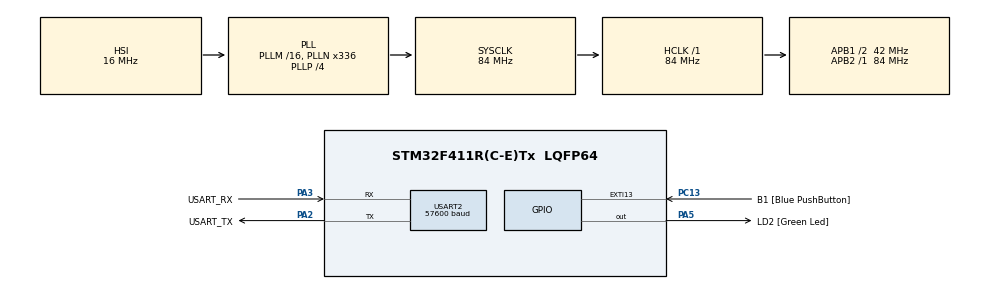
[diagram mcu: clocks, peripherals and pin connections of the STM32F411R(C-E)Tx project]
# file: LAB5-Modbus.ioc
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Mcu.Family=STM32F4
Mcu.Name=STM32F411R(C-E)Tx
Mcu.Package=LQFP64
NVIC.PriorityGroup=NVIC_PRIORITYGROUP_0
NVIC.USART2_IRQn=true\:0\:0\:false\:false\:true\:true\:true\:true
PA13.GPIO_Label=TMS
PA13.Mode=Serial_Wire
PA13.Signal=SYS_JTMS-SWDIO
PA14.GPIO_Label=TCK
PA14.Mode=Serial_Wire
PA14.Signal=SYS_JTCK-SWCLK
PA2.GPIO_Label=USART_TX
PA2.Mode=Asynchronous
PA2.Signal=USART2_TX
PA3.GPIO_Label=USART_RX
PA3.Mode=Asynchronous
PA3.Signal=USART2_RX
PA5.GPIO_Label=LD2 [Green Led]
PA5.Signal=GPIO_Output
PB3.GPIO_Label=SWO
PB3.Signal=SYS_JTDO-SWO
PC13-ANTI_TAMP.GPIO_Label=B1 [Blue PushButton]
PC13-ANTI_TAMP.GPIO_ModeDefaultEXTI=GPIO_MODE_IT_FALLING
PC13-ANTI_TAMP.Signal=GPXTI13
PC14-OSC32_IN.Mode=LSE-External-Oscillator
PC14-OSC32_IN.Signal=RCC_OSC32_IN
PC15-OSC32_OUT.Mode=LSE-External-Oscillator
PC15-OSC32_OUT.Signal=RCC_OSC32_OUT
PH0\ -\ OSC_IN.Mode=HSE-External-Clock-Source
PH0\ -\ OSC_IN.Signal=RCC_OSC_IN
PH1\ -\ OSC_OUT.Mode=HSE-External-Clock-Source
PH1\ -\ OSC_OUT.Signal=RCC_OSC_OUT
ProjectManager.HeapSize=0x200
ProjectManager.StackSize=0x400
ProjectManager.TargetToolchain=STM32CubeIDE
RCC.48MHZClocksFreq_Value=84000000
RCC.AHBFreq_Value=84000000
RCC.APB1CLKDivider=RCC_HCLK_DIV2
RCC.APB1Freq_Value=42000000
RCC.APB1TimFreq_Value=84000000
RCC.APB2Freq_Value=84000000
RCC.APB2TimFreq_Value=84000000
RCC.CortexFreq_Value=84000000
RCC.FLatency-AdvancedSettings=FLASH_LATENCY_2
RCC.HCLKFreq_Value=84000000
RCC.HSE_VALUE=8000000
RCC.HSI_VALUE=16000000
RCC.PLLN=336
RCC.PLLP=RCC_PLLP_DIV4
RCC.SYSCLKFreq_VALUE=84000000
RCC.SYSCLKSource=RCC_SYSCLKSOURCE_PLLCLK
RCC.VCOOutputFreq_Value=336000000
USART2.BaudRate=57600
USART2.VirtualMode=VM_ASYNC
board=NUCLEO-F411RE

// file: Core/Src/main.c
/* USER CODE BEGIN Header */
/**
 ******************************************************************************
 * @file           : main.c
 * @brief          : Main program body
 ******************************************************************************
 * @attention
 *
 * Copyright (c) 2023 STMicroelectronics.
 * All rights reserved.
 *
 * This software is licensed under terms that can be found in the LICENSE file
 * in the root directory of this software component.
 * If no LICENSE file comes with this software, it is provided AS-IS.
 *
 ******************************************************************************
 */
/* USER CODE END Header */
#include "main.h"

/* USER CODE BEGIN Includes */
#include "stdio.h"
#include "string.h"
/* USER CODE END Includes */

UART_HandleTypeDef huart2;

/* USER CODE BEGIN PV */
uint8_t RxBuffer[1];
uint8_t TxBuffer[40];

uint8_t FirstMenu[500] =
				"===================================================== \r\n"
				"           Welcome to First selection Menu            \r\n"
				"   Please selected only choise which the menu have    \r\n"
				"             Press the number of choise               \r\n"
				"===================================================== \r\n"
				"                 0 : LED Control                      \r\n"
				"                1 : Button Status                     \r\n"
				"===================================================== \r\n";

uint8_t SecondMenu[700] =
				"===================================================== \r\n"
				"               Welcome to Led Control                 \r\n"
				"   Please selected only choise which the menu have    \r\n"
				"             Press the Character of choise            \r\n"
				"===================================================== \r\n"
				"                a : Speed Up +1 Hz                    \r\n"
				"                s : Speed Down -1 Hz                  \r\n"
				"                d : On / Off LED                      \r\n"
		        "                x : Prevoius menus                    \r\n"
				"===================================================== \r\n";

uint8_t ThirdMenu[300] =
				"===================================================== \r\n"
				"              Welcome to Button Status                \r\n"
				"       This Menu will show button status B1           \r\n"
				"         Press 'x' to get to prevoius menu            \r\n"
				"===================================================== \r\n";

int8_t Hz = 0;
int8_t PreHz = 0;
uint16_t Millis = 0;

uint8_t TextState = 0;

uint8_t LedStatus = 0;
uint8_t LedOn[10] = "LedOn\r\n";
uint8_t LedOff[15] = "LedOff\r\n";

uint8_t wrong[20] = "Worng Option\r\n";

uint8_t Button = 0;
uint8_t PreButton = 0;
uint8_t Press[20] = "ButtonPressed\r\n";
uint8_t unPress[20] = "ButtonUnpressed\r\n";

uint8_t OneTimePress = 0;
/* USER CODE END PV */

void SystemClock_Config(void);
static void MX_GPIO_Init(void);
static void MX_USART2_UART_Init(void);
/* USER CODE BEGIN PFP */

void UARTInterruptConfig();
/* USER CODE END PFP */

int main(void) {

	/* MCU Configuration--------------------------------------------------------*/

	/* Reset of all peripherals, Initializes the Flash interface and the Systick. */
	HAL_Init();

	/* Configure the system clock */
	SystemClock_Config();

	/* Initialize all configured peripherals */
	MX_GPIO_Init();
	MX_USART2_UART_Init();
	/* USER CODE BEGIN 2 */

	UARTInterruptConfig();
	RxBuffer[0] = ' ';
	/* USER CODE END 2 */

	/* Infinite loop */
	while (1) {

		/* USER CODE BEGIN 3 */
		static uint32_t timestamp = 0;
		if (HAL_GetTick() > timestamp) {

			if (Hz > 0) {
				Millis = 500 / Hz;
			} else {
				Millis = 0;
			}
			timestamp = HAL_GetTick() + Millis;

			if(LedStatus == 0 || Hz == 0){
				HAL_GPIO_WritePin(LD2_GPIO_Port, LD2_Pin, RESET);
			}
			else{
				HAL_GPIO_TogglePin(LD2_GPIO_Port, LD2_Pin);
			}
		}

		switch (TextState) {

		case 0:
			HAL_UART_Transmit_IT(&huart2, FirstMenu, strlen((char*) FirstMenu));
			TextState = 1;
			break;
		case 1:
			switch (RxBuffer[0]){

			case ' ':
				break;
			case '0' :
					RxBuffer[0] = ' ';
					TextState = 2;
				break;
			case '1' :
					RxBuffer[0] = ' ';
					TextState = 4;
				break;
			default:
					HAL_UART_Transmit_IT(&huart2, wrong, strlen((char*) wrong));
					RxBuffer[0] = ' ';
					TextState = 1;
				break;
			}
			break;

		case 2:
			HAL_UART_Transmit_IT(&huart2, SecondMenu, strlen((char*) SecondMenu));
			TextState = 3;
			break;
		case 3:
			switch(RxBuffer[0]){

			case ' ':
				break;
			case 'a':
				Hz += 1;
				PreHz += 1;

				sprintf((char*) TxBuffer, "Now LED Blink %d Hz\r\n", Hz);
				HAL_UART_Transmit_IT(&huart2, TxBuffer, strlen((char*) TxBuffer));
				TextState = 3;
				RxBuffer[0] = ' ';
				break;
			case 's' :
				Hz -= 1;
				if(Hz <= 0){
					Hz = 0;
				}
				PreHz -= 1;
				if(PreHz <= 0){
					PreHz = 0;
				}

				sprintf((char*) TxBuffer, "Now LED Blink %d Hz\r\n", Hz);
				HAL_UART_Transmit_IT(&huart2, TxBuffer, strlen((char*) TxBuffer));
				TextState = 3;
				RxBuffer[0] = ' ';
				break;
			case 'd':
				if(LedStatus){
					LedStatus = 0;
					RxBuffer[0] = ' ';

					Hz = 0;
					HAL_UART_Transmit_IT(&huart2, LedOff, strlen((char*) LedOff));
					HAL_GPIO_WritePin(LD2_GPIO_Port, LD2_Pin, SET);
				}
				else{
					LedStatus = 1;
					RxBuffer[0] =' ';

					Hz = PreHz;
					HAL_UART_Transmit_IT(&huart2, LedOn, strlen((char*) LedOn));
				}
				break;
			case 'x':
				RxBuffer[0] = ' ';
				TextState = 0;
				break;
			default :
				RxBuffer[0] = ' ';
				HAL_UART_Transmit_IT(&huart2, wrong, strlen((char*) wrong));
				TextState = 3;
				break;
			}
			break;

		case 4:
			HAL_UART_Transmit_IT(&huart2, ThirdMenu, strlen((char*) ThirdMenu));
			TextState = 5;
			break;
		case 5:
			Button = HAL_GPIO_ReadPin(GPIOC, GPIO_PIN_13);
			if(Button == 1 && PreButton == 0){
				HAL_UART_Transmit_IT(&huart2, unPress, strlen((char*) unPress));
				OneTimePress = 0;
			}
			else if(Button == 0 && PreButton == 0){
				if(!OneTimePress){
					HAL_UART_Transmit_IT(&huart2, Press, strlen((char*) Press));
					OneTimePress = 1;
				}
			}
			switch(RxBuffer[0]){

			case ' ':
				break;
			case 'x':
				RxBuffer[0] = ' ';
				TextState = 0;
				break;
			default:
				HAL_UART_Transmit_IT(&huart2, wrong, strlen((char*) wrong));
				RxBuffer[0] = ' ';
				TextState = 5;
				break;
			}
			PreButton = Button;
			break;
		}

	}
	/* USER CODE END 3 */
}

void SystemClock_Config(void) {
	RCC_OscInitTypeDef RCC_OscInitStruct = { 0 };
	RCC_ClkInitTypeDef RCC_ClkInitStruct = { 0 };

	/** Configure the main internal regulator output voltage
	 */
	__HAL_RCC_PWR_CLK_ENABLE();
	__HAL_PWR_VOLTAGESCALING_CONFIG(PWR_REGULATOR_VOLTAGE_SCALE1);

	/** Initializes the RCC Oscillators according to the specified parameters
	 * in the RCC_OscInitTypeDef structure.
	 */
	RCC_OscInitStruct.OscillatorType = RCC_OSCILLATORTYPE_HSI;
	RCC_OscInitStruct.HSIState = RCC_HSI_ON;
	RCC_OscInitStruct.HSICalibrationValue = RCC_HSICALIBRATION_DEFAULT;
	RCC_OscInitStruct.PLL.PLLState = RCC_PLL_ON;
	RCC_OscInitStruct.PLL.PLLSource = RCC_PLLSOURCE_HSI;
	RCC_OscInitStruct.PLL.PLLM = 16;
	RCC_OscInitStruct.PLL.PLLN = 336;
	RCC_OscInitStruct.PLL.PLLP = RCC_PLLP_DIV4;
	RCC_OscInitStruct.PLL.PLLQ = 4;
	if (HAL_RCC_OscConfig(&RCC_OscInitStruct) != HAL_OK) {
		Error_Handler();
	}

	/** Initializes the CPU, AHB and APB buses clocks
	 */
	RCC_ClkInitStruct.ClockType = RCC_CLOCKTYPE_HCLK | RCC_CLOCKTYPE_SYSCLK
			| RCC_CLOCKTYPE_PCLK1 | RCC_CLOCKTYPE_PCLK2;
	RCC_ClkInitStruct.SYSCLKSource = RCC_SYSCLKSOURCE_PLLCLK;
	RCC_ClkInitStruct.AHBCLKDivider = RCC_SYSCLK_DIV1;
	RCC_ClkInitStruct.APB1CLKDivider = RCC_HCLK_DIV2;
	RCC_ClkInitStruct.APB2CLKDivider = RCC_HCLK_DIV1;

	if (HAL_RCC_ClockConfig(&RCC_ClkInitStruct, FLASH_LATENCY_2) != HAL_OK) {
		Error_Handler();
	}
}

static void MX_USART2_UART_Init(void) {

	huart2.Instance = USART2;
	huart2.Init.BaudRate = 57600;
	huart2.Init.WordLength = UART_WORDLENGTH_8B;
	huart2.Init.StopBits = UART_STOPBITS_1;
	huart2.Init.Parity = UART_PARITY_NONE;
	huart2.Init.Mode = UART_MODE_TX_RX;
	huart2.Init.HwFlowCtl = UART_HWCONTROL_NONE;
	huart2.Init.OverSampling = UART_OVERSAMPLING_16;
	if (HAL_UART_Init(&huart2) != HAL_OK) {
		Error_Handler();
	}

}

static void MX_GPIO_Init(void) {
	GPIO_InitTypeDef GPIO_InitStruct = { 0 };

	/* GPIO Ports Clock Enable */
	__HAL_RCC_GPIOC_CLK_ENABLE();
	__HAL_RCC_GPIOH_CLK_ENABLE();
	__HAL_RCC_GPIOA_CLK_ENABLE();
	__HAL_RCC_GPIOB_CLK_ENABLE();

	/*Configure GPIO pin Output Level */
	HAL_GPIO_WritePin(LD2_GPIO_Port, LD2_Pin, GPIO_PIN_RESET);

	/*Configure GPIO pin : B1_Pin */
	GPIO_InitStruct.Pin = B1_Pin;
	GPIO_InitStruct.Mode = GPIO_MODE_IT_FALLING;
	GPIO_InitStruct.Pull = GPIO_NOPULL;
	HAL_GPIO_Init(B1_GPIO_Port, &GPIO_InitStruct);

	/*Configure GPIO pin : LD2_Pin */
	GPIO_InitStruct.Pin = LD2_Pin;
	GPIO_InitStruct.Mode = GPIO_MODE_OUTPUT_PP;
	GPIO_InitStruct.Pull = GPIO_NOPULL;
	GPIO_InitStruct.Speed = GPIO_SPEED_FREQ_LOW;
	HAL_GPIO_Init(LD2_GPIO_Port, &GPIO_InitStruct);

}

/* USER CODE BEGIN 4 */
void UARTInterruptConfig() {
	HAL_UART_Receive_IT(&huart2, RxBuffer, 1);
}

void HAL_UART_RxCpltCallback(UART_HandleTypeDef *huart) {
	if (huart == &huart2) {
		RxBuffer[2] = '\0';

		sprintf((char*) TxBuffer, "Enter : %s\r\n", RxBuffer);
		HAL_UART_Transmit(&huart2, TxBuffer, strlen((char*) TxBuffer), 100);

		HAL_UART_Receive_IT(&huart2, RxBuffer, 1);
	}
}
/* USER CODE END 4 */

void Error_Handler(void) {
	__disable_irq();
	while (1) {
	}
}
